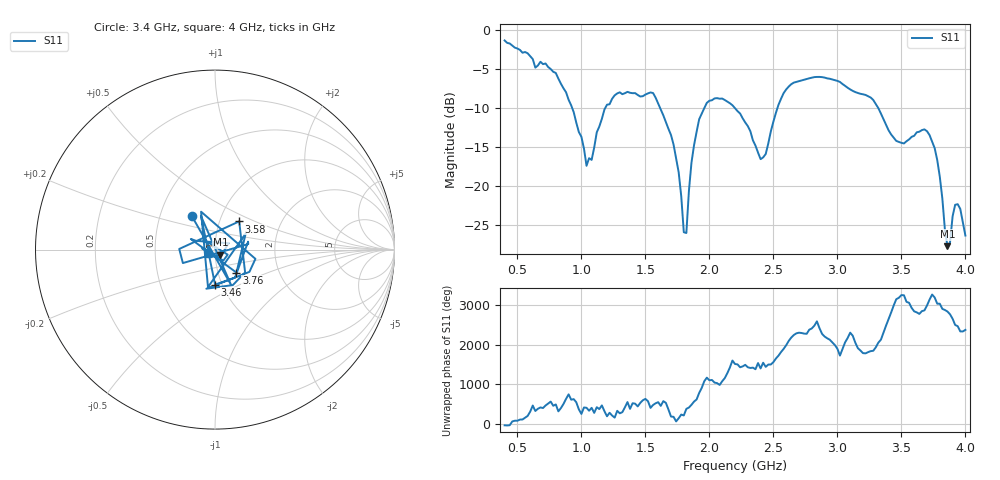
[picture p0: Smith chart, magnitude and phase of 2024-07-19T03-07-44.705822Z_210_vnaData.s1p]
!Created with skrf (http://scikit-rf.org).
# Hz S RI R 50.0
!freq ReS11 ImS11
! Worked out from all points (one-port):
!   181 points, 400 MHz to 4 GHz, reference 50 ohm
!   lowest |S11| = -27.7 dB at 3.86 GHz (marker M1), VSWR 1.09, Z = 53 - j3 ohm
!   |S11| at or under -10 dB: 1.615 GHz to 1.96 GHz (344.9 MHz wide, 19.3 % of centre); 2.199 GHz to 2.532 GHz (332.6 MHz wide, 14.1 % of centre); 3.319 GHz to end of sweep (the widest 3 of 4)
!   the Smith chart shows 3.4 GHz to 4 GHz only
!   S11 on the Smith chart (normalised r, x): 3.4 GHz: 0.72, +0.29; 3.46 GHz: 0.93, -0.38; 3.58 GHz: 1.24, +0.41; 3.76 GHz: 1.22, -0.32; 4 GHz: 0.92, -0.05
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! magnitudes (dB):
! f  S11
! 400 MHz  -1.4
! 860 MHz  -7.5
! 1.04 GHz  -17.4
! 1.18 GHz  -10.2
! 1.3 GHz  -8.0
! 1.56 GHz  -8.1
! 1.7 GHz  -13.5
! 1.76 GHz  -18.2
! 1.8 GHz  -25.9
! 1.82 GHz  -26.0
! 1.86 GHz  -17.0
! 1.92 GHz  -11.4
! 2.04 GHz  -8.8
! 2.2 GHz  -10.0
! 2.4 GHz  -16.5
! 2.56 GHz  -8.8
! 2.66 GHz  -6.7
! 3.1 GHz  -7.6
! 3.28 GHz  -9.0
! 3.4 GHz  -12.9
! 3.46 GHz  -14.2
! 3.56 GHz  -14.0
! 3.58 GHz  -13.7
! 3.68 GHz  -12.7
! 3.76 GHz  -15.1
! 3.86 GHz  -27.7
! 3.92 GHz  -22.4
! 4 GHz  -26.3
